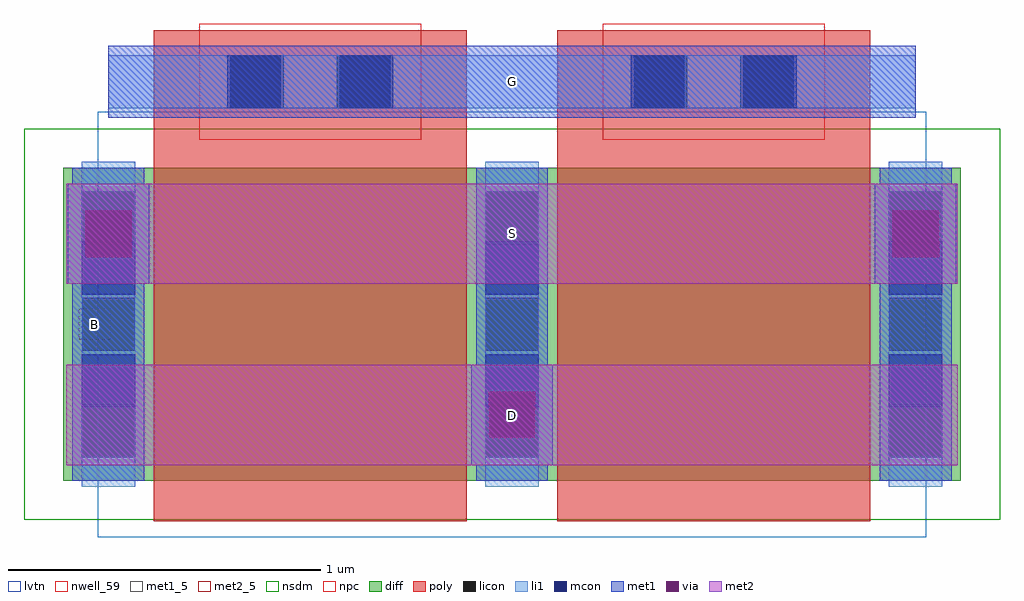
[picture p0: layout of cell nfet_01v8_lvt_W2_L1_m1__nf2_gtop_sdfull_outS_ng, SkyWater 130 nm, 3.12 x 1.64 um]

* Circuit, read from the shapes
.subckt nfet_01v8_lvt_W2_L1_m1__nf2_gtop_sdfull_outS_ng B D G S
XM1 D G S B sky130_fd_pr__nfet_01v8_lvt w=1 l=1 m=2
.ends

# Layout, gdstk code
import gdstk
lib = gdstk.Library(unit=1e-6, precision=1e-09)
def R(c, l, rs):  # rectangles x0, y0, x1, y1
    for r in rs: c.add(gdstk.rectangle(r[:2], r[2:], *l))
def A(c, l, x, y, w, h, nx, ny, dx, dy):  # array of equal rectangles
    R(c, l, [(x+i*dx, y+j*dy, x+i*dx+w, y+j*dy+h) for i in range(nx) for j in range(ny)])
nwell_59 = (64, 59)
diff = (65, 20)
poly = (66, 20)
licon = (66, 44)
li1 = (67, 20)
mcon = (67, 44)
met1_5 = (68, 5)
met1 = (68, 20)
via = (68, 44)
met2_5 = (69, 5)
met2 = (69, 20)
nsdm = (93, 44)
npc = (95, 20)
lvtn = (125, 44)

sky130_fd_pr__nfet_01v8_ = lib.new_cell('sky130_fd_pr__nfet_01v8_lvt_6MT3PD')
R(sky130_fd_pr__nfet_01v8_, diff, [(-1.435,-0.655,1.435,0.345)])
R(sky130_fd_pr__nfet_01v8_, poly, [(-1.145,-0.785,-0.145,0.785), (0.145,-0.785,1.145,0.785)])
A(sky130_fd_pr__nfet_01v8_, licon, -1.375, -0.58, 0.17, 0.17, 3, 3, 1.29, 0.34)
R(sky130_fd_pr__nfet_01v8_, licon, [(-0.9,0.535,-0.73,0.705), (-0.56,0.535,-0.39,0.705), (0.39,0.535,0.56,0.705), (0.73,0.535,0.9,0.705)])
A(sky130_fd_pr__nfet_01v8_, li1, -1.375, -0.675, 0.17, 1.04, 3, 1, 1.29, 0)
R(sky130_fd_pr__nfet_01v8_, li1, [(-1.29,0.535,1.29,0.705)])
A(sky130_fd_pr__nfet_01v8_, mcon, -1.375, -0.42, 0.17, 0.17, 3, 2, 1.29, 0.36)
R(sky130_fd_pr__nfet_01v8_, mcon, [(-0.91,0.535,-0.74,0.705), (-0.55,0.535,-0.38,0.705), (0.38,0.535,0.55,0.705), (0.74,0.535,0.91,0.705)])
A(sky130_fd_pr__nfet_01v8_, met1, -1.405, -0.655, 0.23, 1, 3, 1, 1.29, 0)
R(sky130_fd_pr__nfet_01v8_, met1, [(-1.125,0.505,-0.165,0.535), (0.165,0.505,1.125,0.535), (-1.29,0.535,1.29,0.705), (-1.125,0.705,-0.165,0.735), (0.165,0.705,1.125,0.735)])
R(sky130_fd_pr__nfet_01v8_, nsdm, [(-1.56,-0.78,1.56,0.47)])
R(sky130_fd_pr__nfet_01v8_, npc, [(-1,0.435,-0.29,0.805), (0.29,0.435,1,0.805)])
R(sky130_fd_pr__nfet_01v8_, lvtn, [(-1.325,-0.835,1.325,0.525)])
sky130_fd_pr__nfet_01v8_.add(gdstk.Label('D0', (-1.29,-0.155), layer=67, texttype=5))
sky130_fd_pr__nfet_01v8_.add(gdstk.Label('G', (0.645,0.62), layer=67, texttype=5))
sky130_fd_pr__nfet_01v8_.add(gdstk.Label('G', (-0.645,0.62), layer=67, texttype=5))
sky130_fd_pr__nfet_01v8_.add(gdstk.Label('S1', (0,-0.155), layer=67, texttype=5))

nfet_01v8_lvt_w2_l1_m1__ = lib.new_cell('nfet_01v8_lvt_W2_L1_m1__nf2_gtop_sdfull_outS_ng')
R(nfet_01v8_lvt_w2_l1_m1__, nwell_59, [(0.05,0.58,0.15,0.68)])
R(nfet_01v8_lvt_w2_l1_m1__, met1_5, [(0.145,1.29,2.725,1.52)])
R(nfet_01v8_lvt_w2_l1_m1__, met1, [(1.305,0.18,1.565,0.5), (0.015,0.76,0.275,1.08), (2.595,0.76,2.855,1.08), (0.145,1.29,2.725,1.52)])
R(nfet_01v8_lvt_w2_l1_m1__, via, [(1.36,0.265,1.51,0.415), (0.07,0.845,0.22,0.995), (2.65,0.845,2.8,0.995)])
R(nfet_01v8_lvt_w2_l1_m1__, met2_5, [(0.01,0.18,2.86,0.5), (0.01,0.76,2.86,1.08)])
R(nfet_01v8_lvt_w2_l1_m1__, met2, [(0.01,0.18,2.86,0.5), (0.01,0.76,2.86,1.08)])
nfet_01v8_lvt_w2_l1_m1__.add(gdstk.Reference(sky130_fd_pr__nfet_01v8_, (1.435,0.785)))
nfet_01v8_lvt_w2_l1_m1__.add(gdstk.Label('S', (1.435,0.92), layer=69, texttype=5))
nfet_01v8_lvt_w2_l1_m1__.add(gdstk.Label('D', (1.435,0.34), layer=69, texttype=5))
nfet_01v8_lvt_w2_l1_m1__.add(gdstk.Label('G', (1.435,1.405), layer=68, texttype=5))
nfet_01v8_lvt_w2_l1_m1__.add(gdstk.Label('B', (0.1,0.63), layer=64, texttype=59))

lib.write_gds('nfet_01v8_lvt_W2_L1_m1__nf2_gtop_sdfull_outS_ng.gds')
